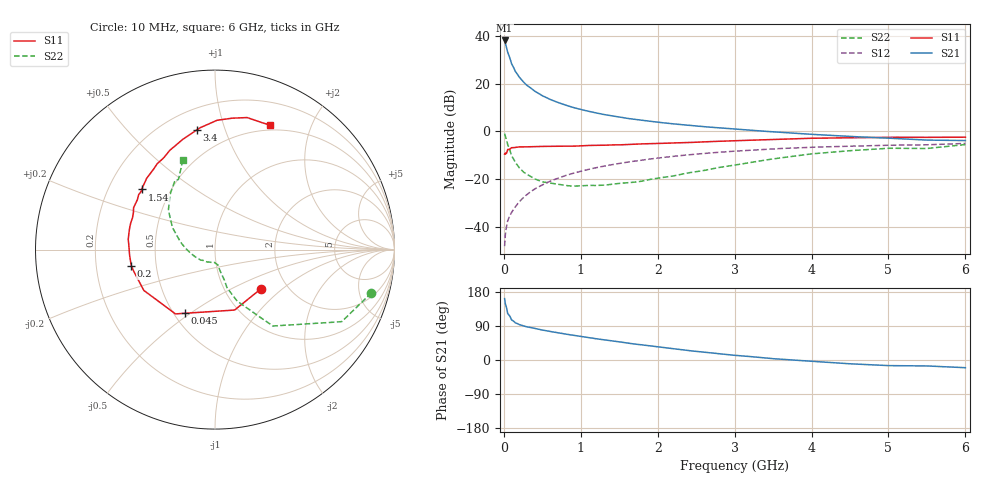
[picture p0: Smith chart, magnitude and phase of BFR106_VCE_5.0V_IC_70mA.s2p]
! Infineon Technologies  Discrete & RF Semiconductors
! BFR106
! VCE =  5.0 V,  IC =  70 mA
! Common Emitter S-Parameters:  Nov 2015
# GHz  S  MA  R  50
!  f  S11  S21  S12  S22
! GHz  MAG  ANG  MAG  ANG  MAG  ANG  MAG  ANG
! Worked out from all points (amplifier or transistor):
!   210 points, 10 MHz to 6 GHz, reference 50 ohm
!   highest |S21| = 38.0 dB at 10 MHz (marker M1)
!   |S21| within 3 dB of that: start of sweep to 35.22 MHz
!   unconditionally stable (mu >= 1): 223.4 MHz to 2.368 GHz
!   at 185 MHz: K = 0.97, MSG = 26.8 dB, |S12| = -30.0 dB
!   at 1.52 GHz: K = 1.05, MAG = 8.2 dB, |S12| = -13.3 dB
!   at 6 GHz: K = 0.99, MSG = 0.6 dB, |S12| = -5.0 dB
!   S11 on the Smith chart (normalised r, x): 10 MHz: 1.47, -0.73; 45 MHz: 0.57, -0.48; 200 MHz: 0.36, -0.08; 1.54 GHz: 0.34, +0.32; 3.4 GHz: 0.33, +0.80; 6 GHz: 0.44, +1.44
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0.01  0.3365 -40.5  79.8 161.9  0.004 81.3  0.904 -15.5
0.02  0.3541 -72.0  70.65 147.8  0.0071 67.1  0.8124 -29.6
0.045  0.3913 -115.0  48.75 128.3  0.0124 62.7  0.5718 -47.5
0.05  0.4206 -121.6  45.42 122.4  0.0135 62.2  0.5339 -52.9
0.1  0.4572 -150.2  26.18 105.9  0.0203 62.8  0.3123 -66.7
0.15  0.4652 -162.6  17.95 98.0  0.0267 67.1  0.2231 -72.5
0.2  0.4752 -168.9  13.69 93.6  0.0336 69.6  0.1749 -73.0
0.24  0.4754 -172.6  11.52 90.9  0.0394 70.8  0.1494 -74.5
0.26  0.4758 -174.2  10.62 89.6  0.0422 71.4  0.1398 -75.2
0.3  0.477 -176.8  9.197 87.5  0.0479 72.5  0.1268 -76.4
0.4  0.48 177.4  6.968 83.2  0.0624 73.1  0.1022 -77.8
0.5  0.4869 173.2  5.588 79.1  0.0762 73.2  0.0884 -78.8
0.6  0.4883 169.3  4.682 75.3  0.0908 72.3  0.0833 -81.5
0.7  0.4909 165.6  4.046 71.7  0.1047 71.6  0.0791 -85.8
1.02  0.5013 155.0  2.829 61.6  0.1498 67.6  0.0736 -97.5
1.54  0.5276 140.6  1.958 46.7  0.2196 60.2  0.083 -125.7
2.02  0.5613 128.1  1.548 34.1  0.2798 53.0  0.1068 -152.4
3.1  0.6473 104.4  1.089 10.8  0.3961 36.5  0.2106 163.5
3.4  0.6735 98.8  1.007 5.5  0.4238 32.0  0.2521 154.9
4.1  0.7234 87.8  0.853 -4.8  0.4732 21.5  0.3502 137.4
5.1  0.7558 75.0  0.711 -15.0  0.5171 9.0  0.4442 119.5
6  0.7589 66.2  0.645 -20.3  0.562 -0.6  0.532 109.6
